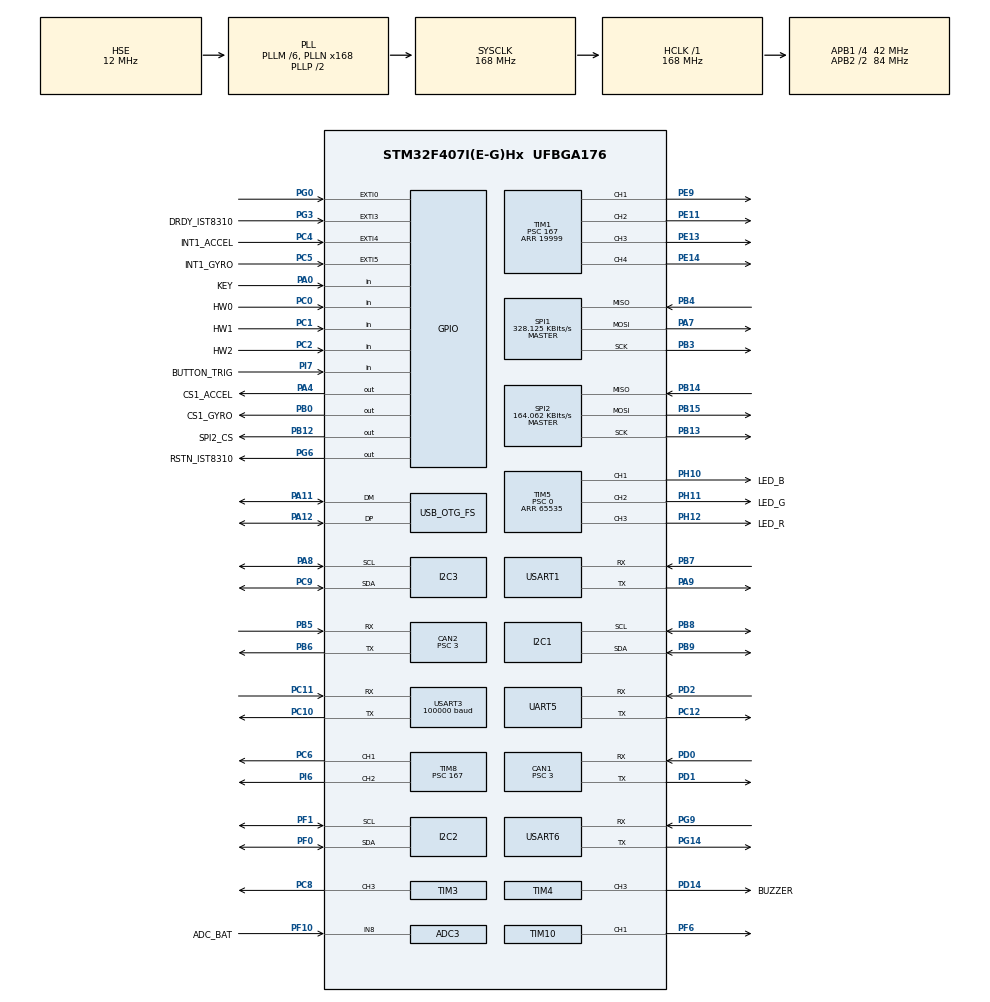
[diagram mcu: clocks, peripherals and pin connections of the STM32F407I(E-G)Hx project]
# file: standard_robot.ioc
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ADC1.Channel-0\#ChannelRegularConversion=ADC_CHANNEL_TEMPSENSOR
ADC1.ClockPrescaler=ADC_CLOCK_SYNC_PCLK_DIV6
ADC1.NbrOfConversionFlag=1
ADC1.Rank-0\#ChannelRegularConversion=1
ADC1.SamplingTime-0\#ChannelRegularConversion=ADC_SAMPLETIME_3CYCLES
ADC1.master=1
ADC3.Channel-0\#ChannelRegularConversion=ADC_CHANNEL_8
ADC3.ClockPrescaler=ADC_CLOCK_SYNC_PCLK_DIV6
ADC3.NbrOfConversionFlag=1
ADC3.Rank-0\#ChannelRegularConversion=1
ADC3.SamplingTime-0\#ChannelRegularConversion=ADC_SAMPLETIME_3CYCLES
CAN1.BS1=CAN_BS1_10TQ
CAN1.BS2=CAN_BS2_3TQ
CAN1.CalculateTimeQuantum=71.42857142857143
CAN1.Prescaler=3
CAN2.BS1=CAN_BS1_10TQ
CAN2.BS2=CAN_BS2_3TQ
CAN2.CalculateTimeQuantum=71.42857142857143
CAN2.Prescaler=3
Dma.I2C2_TX.2.Direction=DMA_MEMORY_TO_PERIPH
Dma.I2C2_TX.2.FIFOMode=DMA_FIFOMODE_DISABLE
Dma.I2C2_TX.2.Instance=DMA1_Stream7
Dma.I2C2_TX.2.MemDataAlignment=DMA_MDATAALIGN_BYTE
Dma.I2C2_TX.2.MemInc=DMA_MINC_ENABLE
Dma.I2C2_TX.2.Mode=DMA_NORMAL
Dma.I2C2_TX.2.PeriphDataAlignment=DMA_PDATAALIGN_BYTE
Dma.I2C2_TX.2.PeriphInc=DMA_PINC_DISABLE
Dma.I2C2_TX.2.Priority=DMA_PRIORITY_HIGH
Dma.Request0=SPI1_RX
Dma.Request1=SPI1_TX
Dma.Request2=I2C2_TX
Dma.Request3=USART3_RX
Dma.Request4=USART6_RX
Dma.Request5=USART6_TX
Dma.Request6=USART1_TX
Dma.SPI1_RX.0.Direction=DMA_PERIPH_TO_MEMORY
Dma.SPI1_RX.0.FIFOMode=DMA_FIFOMODE_DISABLE
Dma.SPI1_RX.0.Instance=DMA2_Stream2
Dma.SPI1_RX.0.MemDataAlignment=DMA_MDATAALIGN_BYTE
Dma.SPI1_RX.0.MemInc=DMA_MINC_ENABLE
Dma.SPI1_RX.0.Mode=DMA_NORMAL
Dma.SPI1_RX.0.PeriphDataAlignment=DMA_PDATAALIGN_BYTE
Dma.SPI1_RX.0.PeriphInc=DMA_PINC_DISABLE
Dma.SPI1_RX.0.Priority=DMA_PRIORITY_VERY_HIGH
Dma.SPI1_TX.1.Direction=DMA_MEMORY_TO_PERIPH
Dma.SPI1_TX.1.FIFOMode=DMA_FIFOMODE_DISABLE
Dma.SPI1_TX.1.Instance=DMA2_Stream3
Dma.SPI1_TX.1.MemDataAlignment=DMA_MDATAALIGN_BYTE
Dma.SPI1_TX.1.MemInc=DMA_MINC_ENABLE
Dma.SPI1_TX.1.Mode=DMA_NORMAL
Dma.SPI1_TX.1.PeriphDataAlignment=DMA_PDATAALIGN_BYTE
Dma.SPI1_TX.1.PeriphInc=DMA_PINC_DISABLE
Dma.SPI1_TX.1.Priority=DMA_PRIORITY_HIGH
Dma.USART1_TX.6.Direction=DMA_MEMORY_TO_PERIPH
Dma.USART1_TX.6.FIFOMode=DMA_FIFOMODE_DISABLE
Dma.USART1_TX.6.Instance=DMA2_Stream7
Dma.USART1_TX.6.MemDataAlignment=DMA_MDATAALIGN_BYTE
Dma.USART1_TX.6.MemInc=DMA_MINC_ENABLE
Dma.USART1_TX.6.Mode=DMA_NORMAL
Dma.USART1_TX.6.PeriphDataAlignment=DMA_PDATAALIGN_BYTE
Dma.USART1_TX.6.PeriphInc=DMA_PINC_DISABLE
Dma.USART1_TX.6.Priority=DMA_PRIORITY_MEDIUM
Dma.USART3_RX.3.Direction=DMA_PERIPH_TO_MEMORY
Dma.USART3_RX.3.FIFOMode=DMA_FIFOMODE_DISABLE
Dma.USART3_RX.3.Instance=DMA1_Stream1
Dma.USART3_RX.3.MemDataAlignment=DMA_MDATAALIGN_BYTE
Dma.USART3_RX.3.MemInc=DMA_MINC_ENABLE
Dma.USART3_RX.3.Mode=DMA_NORMAL
Dma.USART3_RX.3.PeriphDataAlignment=DMA_PDATAALIGN_BYTE
Dma.USART3_RX.3.PeriphInc=DMA_PINC_DISABLE
Dma.USART3_RX.3.Priority=DMA_PRIORITY_HIGH
Dma.USART6_RX.4.Direction=DMA_PERIPH_TO_MEMORY
Dma.USART6_RX.4.FIFOMode=DMA_FIFOMODE_DISABLE
Dma.USART6_RX.4.Instance=DMA2_Stream1
Dma.USART6_RX.4.MemDataAlignment=DMA_MDATAALIGN_BYTE
Dma.USART6_RX.4.MemInc=DMA_MINC_ENABLE
Dma.USART6_RX.4.Mode=DMA_NORMAL
Dma.USART6_RX.4.PeriphDataAlignment=DMA_PDATAALIGN_BYTE
Dma.USART6_RX.4.PeriphInc=DMA_PINC_DISABLE
Dma.USART6_RX.4.Priority=DMA_PRIORITY_HIGH
Dma.USART6_TX.5.Direction=DMA_MEMORY_TO_PERIPH
Dma.USART6_TX.5.FIFOMode=DMA_FIFOMODE_DISABLE
Dma.USART6_TX.5.Instance=DMA2_Stream6
Dma.USART6_TX.5.MemDataAlignment=DMA_MDATAALIGN_BYTE
Dma.USART6_TX.5.MemInc=DMA_MINC_ENABLE
Dma.USART6_TX.5.Mode=DMA_NORMAL
Dma.USART6_TX.5.PeriphDataAlignment=DMA_PDATAALIGN_BYTE
Dma.USART6_TX.5.PeriphInc=DMA_PINC_DISABLE
Dma.USART6_TX.5.Priority=DMA_PRIORITY_MEDIUM
I2C1.I2C_Mode=I2C_Fast
I2C2.I2C_Mode=I2C_Fast
I2C3.I2C_Mode=I2C_Fast
Mcu.Family=STM32F4
Mcu.Name=STM32F407I(E-G)Hx
Mcu.Package=UFBGA176
NVIC.CAN1_RX0_IRQn=true\:6\:0\:true\:false\:true\:true\:true
NVIC.CAN2_RX0_IRQn=true\:6\:0\:true\:false\:true\:true\:true
NVIC.DMA1_Stream1_IRQn=true\:5\:0\:true\:false\:false\:false\:false
NVIC.DMA1_Stream7_IRQn=true\:5\:0\:true\:false\:false\:false\:true
NVIC.DMA2_Stream1_IRQn=true\:5\:0\:true\:false\:true\:false\:true
NVIC.DMA2_Stream2_IRQn=true\:5\:0\:true\:false\:false\:false\:true
NVIC.DMA2_Stream3_IRQn=true\:5\:0\:true\:false\:false\:false\:true
NVIC.DMA2_Stream6_IRQn=true\:5\:0\:true\:false\:true\:false\:true
NVIC.DMA2_Stream7_IRQn=true\:5\:0\:true\:false\:true\:false\:true
NVIC.EXTI0_IRQn=true\:6\:0\:true\:false\:true\:true\:true
NVIC.EXTI3_IRQn=true\:5\:0\:true\:false\:true\:true\:true
NVIC.EXTI4_IRQn=true\:5\:0\:true\:false\:true\:true\:true
NVIC.EXTI9_5_IRQn=true\:5\:0\:true\:false\:true\:true\:true
NVIC.PriorityGroup=NVIC_PRIORITYGROUP_4
NVIC.USART3_IRQn=true\:4\:0\:true\:false\:false\:true\:true
NVIC.USART6_IRQn=true\:5\:0\:true\:false\:false\:true\:true
PA0-WKUP.GPIO_Label=KEY
PA0-WKUP.GPIO_PuPd=GPIO_PULLUP
PA0-WKUP.Signal=GPIO_Input
PA11.Mode=Device_Only
PA11.Signal=USB_OTG_FS_DM
PA12.Mode=Device_Only
PA12.Signal=USB_OTG_FS_DP
PA13.Mode=Serial_Wire
PA13.Signal=SYS_JTMS-SWDIO
PA14.Mode=Serial_Wire
PA14.Signal=SYS_JTCK-SWCLK
PA4.GPIO_Label=CS1_ACCEL
PA4.GPIO_PuPd=GPIO_PULLUP
PA4.GPIO_Speed=GPIO_SPEED_FREQ_HIGH
PA4.PinState=GPIO_PIN_SET
PA4.Signal=GPIO_Output
PA7.GPIO_PuPd=GPIO_PULLUP
PA7.Mode=Full_Duplex_Master
PA7.Signal=SPI1_MOSI
PA8.Mode=I2C
PA8.Signal=I2C3_SCL
PA9.Mode=Asynchronous
PA9.Signal=USART1_TX
PB0.GPIO_Label=CS1_GYRO
PB0.GPIO_PuPd=GPIO_PULLUP
PB0.GPIO_Speed=GPIO_SPEED_FREQ_HIGH
PB0.PinState=GPIO_PIN_SET
PB0.Signal=GPIO_Output
PB12.GPIO_Label=SPI2_CS
PB12.GPIO_PuPd=GPIO_PULLUP
PB12.GPIO_Speed=GPIO_SPEED_FREQ_MEDIUM
PB12.PinState=GPIO_PIN_SET
PB12.Signal=GPIO_Output
PB13.GPIO_PuPd=GPIO_PULLUP
PB13.Mode=Full_Duplex_Master
PB13.Signal=SPI2_SCK
PB14.GPIO_PuPd=GPIO_PULLUP
PB14.Mode=Full_Duplex_Master
PB14.Signal=SPI2_MISO
PB15.GPIO_PuPd=GPIO_PULLUP
PB15.Mode=Full_Duplex_Master
PB15.Signal=SPI2_MOSI
PB3.GPIO_PuPd=GPIO_PULLUP
PB3.Mode=Full_Duplex_Master
PB3.Signal=SPI1_SCK
PB4.GPIO_PuPd=GPIO_PULLUP
PB4.Mode=Full_Duplex_Master
PB4.Signal=SPI1_MISO
PB5.Mode=Slave
PB5.Signal=CAN2_RX
PB6.Mode=Slave
PB6.Signal=CAN2_TX
PB7.Mode=Asynchronous
PB7.Signal=USART1_RX
PB8.Mode=I2C
PB8.Signal=I2C1_SCL
PB9.Mode=I2C
PB9.Signal=I2C1_SDA
PC0.GPIO_Label=HW0
PC0.Signal=GPIO_Input
PC1.GPIO_Label=HW1
PC1.Signal=GPIO_Input
PC10.Mode=Asynchronous
PC10.Signal=USART3_TX
PC11.Mode=Asynchronous
PC11.Signal=USART3_RX
PC12.Mode=Multiprocessor_communication
PC12.Signal=UART5_TX
PC2.GPIO_Label=HW2
PC2.Signal=GPIO_Input
PC4.GPIO_Label=INT1_ACCEL
PC4.GPIO_ModeDefaultEXTI=GPIO_MODE_IT_FALLING
PC4.GPIO_PuPd=GPIO_PULLUP
PC4.Signal=GPXTI4
PC5.GPIO_Label=INT1_GYRO
PC5.GPIO_ModeDefaultEXTI=GPIO_MODE_IT_FALLING
PC5.GPIO_PuPd=GPIO_PULLUP
PC5.Signal=GPXTI5
PC6.GPIO_PuPd=GPIO_PULLUP
PC6.GPIO_Speed=GPIO_SPEED_FREQ_HIGH
PC6.Signal=S_TIM8_CH1
PC8.GPIO_PuPd=GPIO_PULLUP
PC8.GPIO_Speed=GPIO_SPEED_FREQ_HIGH
PC8.Signal=S_TIM3_CH3
PC9.Mode=I2C
PC9.Signal=I2C3_SDA
PD0.Mode=Master
PD0.Signal=CAN1_RX
PD1.Mode=Master
PD1.Signal=CAN1_TX
PD14.GPIO_Label=BUZZER
PD14.GPIO_PuPd=GPIO_PULLUP
PD14.GPIO_Speed=GPIO_SPEED_FREQ_VERY_HIGH
PD14.Signal=S_TIM4_CH3
PD2.Mode=Multiprocessor_communication
PD2.Signal=UART5_RX
PE11.GPIO_PuPd=GPIO_PULLUP
PE11.GPIO_Speed=GPIO_SPEED_FREQ_HIGH
PE11.Signal=S_TIM1_CH2
PE13.GPIO_PuPd=GPIO_PULLUP
PE13.GPIO_Speed=GPIO_SPEED_FREQ_HIGH
PE13.Signal=S_TIM1_CH3
PE14.GPIO_PuPd=GPIO_PULLUP
PE14.GPIO_Speed=GPIO_SPEED_FREQ_HIGH
PE14.Signal=S_TIM1_CH4
PE9.GPIO_PuPd=GPIO_PULLUP
PE9.GPIO_Speed=GPIO_SPEED_FREQ_HIGH
PE9.Signal=S_TIM1_CH1
PF0.Mode=I2C
PF0.Signal=I2C2_SDA
PF1.Mode=I2C
PF1.Signal=I2C2_SCL
PF10.GPIO_Label=ADC_BAT
PF10.Mode=IN8
PF10.Signal=ADC3_IN8
PF6.GPIO_PuPd=GPIO_PULLUP
PF6.GPIO_Speed=GPIO_SPEED_FREQ_HIGH
PF6.Signal=S_TIM10_CH1
PG0.GPIO_ModeDefaultEXTI=GPIO_MODE_IT_FALLING
PG0.GPIO_PuPd=GPIO_PULLUP
PG0.Signal=GPXTI0
PG14.Mode=Asynchronous
PG14.Signal=USART6_TX
PG3.GPIO_Label=DRDY_IST8310
PG3.GPIO_ModeDefaultEXTI=GPIO_MODE_IT_FALLING
PG3.GPIO_PuPd=GPIO_PULLUP
PG3.Signal=GPXTI3
PG6.GPIO_Label=RSTN_IST8310
PG6.GPIO_PuPd=GPIO_PULLUP
PG6.GPIO_Speed=GPIO_SPEED_FREQ_MEDIUM
PG6.PinState=GPIO_PIN_SET
PG6.Signal=GPIO_Output
PG9.Mode=Asynchronous
PG9.Signal=USART6_RX
PH0-OSC_IN.Mode=HSE-External-Oscillator
PH0-OSC_IN.Signal=RCC_OSC_IN
PH1-OSC_OUT.Mode=HSE-External-Oscillator
PH1-OSC_OUT.Signal=RCC_OSC_OUT
PH10.GPIO_Label=LED_B
PH10.GPIO_PuPd=GPIO_PULLUP
PH10.GPIO_Speed=GPIO_SPEED_FREQ_HIGH
PH10.Signal=S_TIM5_CH1
PH11.GPIO_Label=LED_G
PH11.GPIO_PuPd=GPIO_PULLUP
PH11.GPIO_Speed=GPIO_SPEED_FREQ_HIGH
PH11.Signal=S_TIM5_CH2
PH12.GPIO_Label=LED_R
PH12.GPIO_PuPd=GPIO_PULLUP
PH12.GPIO_Speed=GPIO_SPEED_FREQ_HIGH
PH12.Signal=S_TIM5_CH3
PI6.GPIO_PuPd=GPIO_PULLUP
PI6.GPIO_Speed=GPIO_SPEED_FREQ_HIGH
PI6.Signal=S_TIM8_CH2
PI7.GPIO_Label=BUTTON_TRIG
PI7.GPIO_PuPd=GPIO_PULLUP
PI7.Signal=GPIO_Input
ProjectManager.HeapSize=0x2000
ProjectManager.StackSize=0x2000
ProjectManager.TargetToolchain=MDK-ARM V5
RCC.48MHZClocksFreq_Value=48000000
RCC.AHBFreq_Value=168000000
RCC.APB1CLKDivider=RCC_HCLK_DIV4
RCC.APB1Freq_Value=42000000
RCC.APB1TimFreq_Value=84000000
RCC.APB2CLKDivider=RCC_HCLK_DIV2
RCC.APB2Freq_Value=84000000
RCC.APB2TimFreq_Value=168000000
RCC.CortexFreq_Value=168000000
RCC.HCLKFreq_Value=168000000
RCC.HSE_VALUE=12000000
RCC.HSI_VALUE=16000000
RCC.LSE_VALUE=32768
RCC.PLLM=6
RCC.PLLN=168
RCC.PLLQ=7
RCC.RCC_RTC_Clock_SourceVirtual=RCC_RTCCLKSOURCE_HSE_DIV30
RCC.RCC_RTC_Clock_Source_FROM_HSE=RCC_RTCCLKSOURCE_HSE_DIV30
RCC.SYSCLKFreq_VALUE=168000000
RCC.SYSCLKSource=RCC_SYSCLKSOURCE_PLLCLK
RCC.VCOOutputFreq_Value=336000000
RTC.AsynchPrediv=124
RTC.SynchPrediv=3199
SH.S_TIM10_CH1.0=TIM10_CH1,PWM Generation1 CH1
SH.S_TIM1_CH1.0=TIM1_CH1,PWM Generation1 CH1
SH.S_TIM1_CH2.0=TIM1_CH2,PWM Generation2 CH2
SH.S_TIM1_CH3.0=TIM1_CH3,PWM Generation3 CH3
SH.S_TIM1_CH4.0=TIM1_CH4,PWM Generation4 CH4
SH.S_TIM3_CH3.0=TIM3_CH3,PWM Generation3 CH3
SH.S_TIM4_CH3.0=TIM4_CH3,PWM Generation3 CH3
SH.S_TIM5_CH1.0=TIM5_CH1,PWM Generation1 CH1
SH.S_TIM5_CH2.0=TIM5_CH2,PWM Generation2 CH2
SH.S_TIM5_CH3.0=TIM5_CH3,PWM Generation3 CH3
SH.S_TIM8_CH1.0=TIM8_CH1,PWM Generation1 CH1
SH.S_TIM8_CH2.0=TIM8_CH2,PWM Generation2 CH2
SPI1.BaudRatePrescaler=SPI_BAUDRATEPRESCALER_256
SPI1.CLKPhase=SPI_PHASE_2EDGE
SPI1.CLKPolarity=SPI_POLARITY_HIGH
SPI1.CalculateBaudRate=328.125 KBits/s
SPI1.Direction=SPI_DIRECTION_2LINES
SPI1.Mode=SPI_MODE_MASTER
SPI1.VirtualType=VM_MASTER
SPI2.BaudRatePrescaler=SPI_BAUDRATEPRESCALER_256
SPI2.CLKPhase=SPI_PHASE_2EDGE
SPI2.CLKPolarity=SPI_POLARITY_HIGH
SPI2.CalculateBaudRate=164.062 KBits/s
SPI2.Direction=SPI_DIRECTION_2LINES
SPI2.Mode=SPI_MODE_MASTER
SPI2.VirtualType=VM_MASTER
TIM1.Channel-PWM\ Generation1\ CH1=TIM_CHANNEL_1
TIM1.Channel-PWM\ Generation2\ CH2=TIM_CHANNEL_2
TIM1.Channel-PWM\ Generation3\ CH3=TIM_CHANNEL_3
TIM1.Channel-PWM\ Generation4\ CH4=TIM_CHANNEL_4
TIM1.Period=19999
TIM1.Prescaler=167
TIM1.Pulse-PWM\ Generation1\ CH1=1000
TIM1.Pulse-PWM\ Generation2\ CH2=1000
TIM1.Pulse-PWM\ Generation3\ CH3=1000
TIM1.Pulse-PWM\ Generation4\ CH4=1000
TIM10.Channel=TIM_CHANNEL_1
TIM10.Period=4999
TIM3.Channel-PWM\ Generation3\ CH3=TIM_CHANNEL_3
TIM3.Period=8399
TIM4.Channel-PWM\ Generation3\ CH3=TIM_CHANNEL_3
TIM4.Period=65535
TIM4.Prescaler=167
TIM5.Channel-PWM\ Generation1\ CH1=TIM_CHANNEL_1
TIM5.Channel-PWM\ Generation2\ CH2=TIM_CHANNEL_2
TIM5.Channel-PWM\ Generation3\ CH3=TIM_CHANNEL_3
TIM5.Period=65535
TIM5.Prescaler=0
TIM8.Channel-PWM\ Generation1\ CH1=TIM_CHANNEL_1
TIM8.Channel-PWM\ Generation2\ CH2=TIM_CHANNEL_2
TIM8.Period=19999
TIM8.Prescaler=167
TIM8.Pulse-PWM\ Generation1\ CH1=1000
TIM8.Pulse-PWM\ Generation2\ CH2=1000
UART5.VirtualMode=Asynchronous
USART1.VirtualMode=VM_ASYNC
USART3.BaudRate=100000
USART3.Parity=PARITY_EVEN
USART3.VirtualMode=VM_ASYNC
USART6.VirtualMode=VM_ASYNC
USB_OTG_FS.VirtualMode=Device_Only
VP_ADC1_TempSens_Input.Mode=IN-TempSens
VP_ADC1_Vref_Input.Mode=IN-Vrefint
VP_CRC_VS_CRC.Mode=CRC_Activate
VP_RNG_VS_RNG.Mode=RNG_Activate
VP_RTC_VS_RTC_Activate.Mode=RTC_Enabled
VP_TIM10_VS_ClockSourceINT.Mode=Enable_Timer
VP_TIM1_VS_ClockSourceINT.Mode=Internal
VP_TIM3_VS_ClockSourceINT.Mode=Internal
VP_TIM4_VS_ClockSourceINT.Mode=Internal
VP_TIM5_VS_ClockSourceINT.Mode=Internal
VP_TIM8_VS_ClockSourceINT.Mode=Internal
board=custom

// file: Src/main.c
/* USER CODE BEGIN Header */
/**
  ******************************************************************************
  * @file           : main.c
  * @brief          : Main program body
  ******************************************************************************
  * @attention
  *
  * <h2><center>&copy; Copyright (c) 2021 STMicroelectronics.
  * All rights reserved.</center></h2>
  *
  * This software component is licensed by ST under BSD 3-Clause license,
  * the "License"; You may not use this file except in compliance with the
  * License. You may obtain a copy of the License at:
  *                        opensource.org/licenses/BSD-3-Clause
  *
  ******************************************************************************
  */
/* USER CODE END Header */

#include "main.h"
#include "adc.h"
#include "can.h"
#include "crc.h"
#include "dma.h"
#include "i2c.h"
#include "rng.h"
#include "rtc.h"
#include "spi.h"
#include "tim.h"
#include "usart.h"
#include "usb_otg.h"
#include "gpio.h"

/* USER CODE BEGIN Includes */
#include "muc_led.h"
#include "muc_timer.h"
#include "muc_remote.h"
#include "muc_hardware_can.h"
#include "muc_main_task.h"
#include "muc_imu.h"
#include "muc_gimbal.h"
#include "muc_chassis.h"
#include "muc_stmflash.h"
#include "muc_test.h"
#include "muc_hardware_beep.h"
#include "muc_referee_system.h"
#include "muc_stir_wheel.h"
#include "muc_shoot_wheel.h"
#include "muc_auto_shoot.h"
/* USER CODE END Includes */

/* USER CODE BEGIN PV */
RC_Ctl_t RC_Ctl;
uint8_t sbus_rx_buffer[18];
/* USER CODE END PV */

void SystemClock_Config(void);

int main(void)
{

  /* MCU Configuration--------------------------------------------------------*/

  /* Reset of all peripherals, Initializes the Flash interface and the Systick. */
  HAL_Init();

  /* Configure the system clock */
  SystemClock_Config();

  /* Initialize all configured peripherals */
  MX_GPIO_Init();
  MX_DMA_Init();
  MX_ADC1_Init();
  MX_ADC3_Init();
  MX_CAN1_Init();
  MX_CAN2_Init();
  MX_I2C1_Init();
  MX_SPI1_Init();
  MX_TIM4_Init();
  MX_TIM5_Init();
  MX_USART3_UART_Init();
  MX_TIM8_Init();
  MX_CRC_Init();
  MX_RNG_Init();
  MX_I2C2_Init();
  MX_I2C3_Init();
  MX_RTC_Init();
  MX_SPI2_Init();
  MX_TIM1_Init();
  MX_TIM3_Init();
  MX_TIM10_Init();
  MX_USART1_UART_Init();
  MX_USART6_UART_Init();
  MX_UART5_Init();
  MX_USB_OTG_FS_PCD_Init();
  /* USER CODE BEGIN 2 */
HAL_UART_Receive_DMA(&huart1,sbus_rx_buffer,18);
  /* CAN 需要在电机初始化之前初始化  否则云台因收不到电机的值而校准失败 */
  /* CAN 1 初始化 */
  CanFilter_Init(&hcan1);

  /* CAN 2 初始化 */
  CanFilter_Init(&hcan2);

  /* Led灯状态初始化 */
  LedStaInit();

  /* 蜂鸣器初始化 */
  BeepInit();

  /* 检测Flash中的参数是否有效 */
  CheckConfigParams();

  /* 遥控器初始化 */
  MucRemoteInit();

  /* IMU 初始化 */
  MucImuInit();

  /* 拨轮电机初始化 */
  MucStirWheelInit();

  /* 摩擦轮初始化 */
  MucShootInit();

  /*弹仓盖初始化*/
  Magazine_Init();

  /* 云台 初始化 */
  GimbalInit();

  /*自瞄初始化*/
  MucAutoShootInit();

  /* 地盘 初始化 */
  MucChassisInit();

  /* 播放启动音乐 */
  Sing_Startup_music();

  /* 启动 * 启动所有的任务进程 */
  TaskAllBeginRun();
  /* USER CODE END 2 */

  /* Infinite loop */
  while (1)
  {

  }
}

void SystemClock_Config(void)
{
  RCC_OscInitTypeDef RCC_OscInitStruct = {0};
  RCC_ClkInitTypeDef RCC_ClkInitStruct = {0};
  RCC_PeriphCLKInitTypeDef PeriphClkInitStruct = {0};

  /** Configure the main internal regulator output voltage
  */
  __HAL_RCC_PWR_CLK_ENABLE();
  __HAL_PWR_VOLTAGESCALING_CONFIG(PWR_REGULATOR_VOLTAGE_SCALE1);
  /** Initializes the CPU, AHB and APB busses clocks
  */
  RCC_OscInitStruct.OscillatorType = RCC_OSCILLATORTYPE_HSE;
  RCC_OscInitStruct.HSEState = RCC_HSE_ON;
  RCC_OscInitStruct.PLL.PLLState = RCC_PLL_ON;
  RCC_OscInitStruct.PLL.PLLSource = RCC_PLLSOURCE_HSE;
  RCC_OscInitStruct.PLL.PLLM = 6;
  RCC_OscInitStruct.PLL.PLLN = 168;
  RCC_OscInitStruct.PLL.PLLP = RCC_PLLP_DIV2;
  RCC_OscInitStruct.PLL.PLLQ = 7;
  if (HAL_RCC_OscConfig(&RCC_OscInitStruct) != HAL_OK)
  {
    Error_Handler();
  }
  /** Initializes the CPU, AHB and APB busses clocks
  */
  RCC_ClkInitStruct.ClockType = RCC_CLOCKTYPE_HCLK|RCC_CLOCKTYPE_SYSCLK
                              |RCC_CLOCKTYPE_PCLK1|RCC_CLOCKTYPE_PCLK2;
  RCC_ClkInitStruct.SYSCLKSource = RCC_SYSCLKSOURCE_PLLCLK;
  RCC_ClkInitStruct.AHBCLKDivider = RCC_SYSCLK_DIV1;
  RCC_ClkInitStruct.APB1CLKDivider = RCC_HCLK_DIV4;
  RCC_ClkInitStruct.APB2CLKDivider = RCC_HCLK_DIV2;

  if (HAL_RCC_ClockConfig(&RCC_ClkInitStruct, FLASH_LATENCY_5) != HAL_OK)
  {
    Error_Handler();
  }
  PeriphClkInitStruct.PeriphClockSelection = RCC_PERIPHCLK_RTC;
  PeriphClkInitStruct.RTCClockSelection = RCC_RTCCLKSOURCE_HSE_DIV30;
  if (HAL_RCCEx_PeriphCLKConfig(&PeriphClkInitStruct) != HAL_OK)
  {
    Error_Handler();
  }
}

/* USER CODE BEGIN 4 */
void HAL_UART_RxCpltCallback(UART_HandleTypeDef *UartHandle)
{
				RC_Ctl.rc.ch0 = (sbus_rx_buffer[0]| (sbus_rx_buffer[1] << 8)) & 0x07ff;
				RC_Ctl.rc.ch1 = ((sbus_rx_buffer[1] >> 3) | (sbus_rx_buffer[2] << 5)) & 0x07ff;
				RC_Ctl.rc.ch2 = ((sbus_rx_buffer[2] >> 6) | (sbus_rx_buffer[3] << 2) | (sbus_rx_buffer[4] << 10)) & 0x07ff;
				RC_Ctl.rc.ch3 = ((sbus_rx_buffer[4] >> 1) | (sbus_rx_buffer[5] << 7)) & 0x07ff;
				RC_Ctl.rc.s1  = ((sbus_rx_buffer[5] >> 4)& 0x000C) >> 2;
				RC_Ctl.rc.s2  = ((sbus_rx_buffer[5] >> 4)& 0x0003);

				RC_Ctl.mouse.x = sbus_rx_buffer[6] | (sbus_rx_buffer[7] << 8);                    //!< Mouse X axis
				RC_Ctl.mouse.y = sbus_rx_buffer[8] | (sbus_rx_buffer[9] << 8);                    //!< Mouse Y axis
				RC_Ctl.mouse.z = sbus_rx_buffer[10] | (sbus_rx_buffer[11] << 8);                  //!< Mouse Z axis
				RC_Ctl.mouse.press_l = sbus_rx_buffer[12];                                        //!< Mouse Left Is Press
				RC_Ctl.mouse.press_r = sbus_rx_buffer[13];                                        //!< Mouse Right Is Press
				RC_Ctl.key.v = sbus_rx_buffer[14] | (sbus_rx_buffer[15] << 8);   			//!< KeyBoard value
}
/* USER CODE END 4 */

void Error_Handler(void)
{
}
/* 系统重启函数 */
void MucSystemReboot( void )
{
    __set_FAULTMASK(1);
    NVIC_SystemReset();
}

/************************ (C) COPYRIGHT STMicroelectronics *****END OF FILE****/
